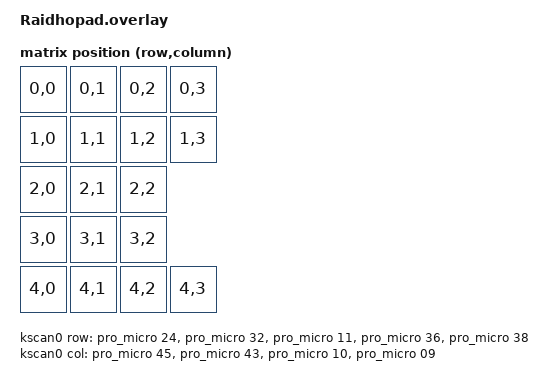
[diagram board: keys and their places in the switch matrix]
#include <dt-bindings/zmk/matrix_transform.h>

/ {
    chosen {
        zmk,kscan = &kscan0;
    };

    kscan0: kscan_0 {
        compatible = "zmk,kscan-gpio-matrix";
        label = "KSCAN";
        diode-direction = "col2row";

        col-gpios
            = <&pro_micro 45 GPIO_ACTIVE_HIGH>
            , <&pro_micro 43 GPIO_ACTIVE_HIGH>
            , <&pro_micro 10 GPIO_ACTIVE_HIGH>
            , <&pro_micro 09 GPIO_ACTIVE_HIGH>
            ;

        row-gpios
            = <&pro_micro 24 (GPIO_ACTIVE_HIGH | GPIO_PULL_DOWN)>
            , <&pro_micro 32 (GPIO_ACTIVE_HIGH | GPIO_PULL_DOWN)>
            , <&pro_micro 11 (GPIO_ACTIVE_HIGH | GPIO_PULL_DOWN)>
            , <&pro_micro 36 (GPIO_ACTIVE_HIGH | GPIO_PULL_DOWN)>
            , <&pro_micro 38 (GPIO_ACTIVE_HIGH | GPIO_PULL_DOWN)>
            ;
    };
};

default_transform: keymap_transform_0 {
        compatible = "zmk,matrix-transform";
        columns = <4>;
        rows = <5>;
        // ┌───┬───┬───┬───┐
        // │FN │ / │ * │ - │
        // ├───┼───┼───┼───┤
        // │ 7 │ 8 │ 9 │ + │
        // ├───┼───┼───┤   │
        // │ 4 │ 5 │ 6 │   │
        // ├───┼───┼───┼───┤
        // │ 1 │ 2 │ 3 │RET│
        // ├───┴───┼───┤   │
        // │ : | 0 │ . │   │
        // └───────┴───┴───┘
        map = <
            RC(0,0) RC(0,1) RC(0,2) RC(0,3)
            RC(1,0) RC(1,1) RC(1,2) RC(1,3)
            RC(2,0) RC(2,1) RC(2,2)
            RC(3,0) RC(3,1) RC(3,2) 
            RC(4,0) RC(4,1) RC(4,2) RC(4,3)
        >;
    };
